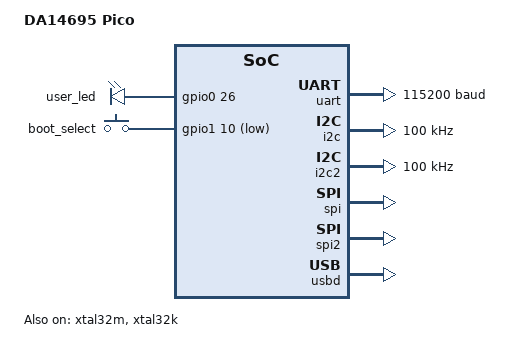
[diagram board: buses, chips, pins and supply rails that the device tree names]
/*
 * Copyright (c) 2022 Renesas Electronics Corporation
 * SPDX-License-Identifier: Apache-2.0
 */

/dts-v1/;
#include <renesas/smartbond/da14695.dtsi>
#include "da14695_pico-pinctrl.dtsi"

/ {
	model = "DA14695 Pico";
	compatible = "renesas,da14695_pico";
	#address-cells = <1>;
	#size-cells = <1>;

	chosen {
		zephyr,sram = &sram0;
		zephyr,flash = &flash0;
		zephyr,flash-controller = &flash_controller;
		zephyr,code-partition = &slot0_partition;
		zephyr,console = &uart;
		zephyr,shell-uart = &uart;
	};

	leds {
		compatible = "gpio-leds";
		user_led: user_led {
			gpios = <&gpio0 26 GPIO_ACTIVE_HIGH>;
		};
	};

	buttons {
		compatible = "gpio-keys";
		boot_select: boot_select {
			gpios = <&gpio1 10 GPIO_ACTIVE_LOW>;
		};
	};

	aliases {
		led0 = &user_led;
		watchdog0 = &wdog;
		mcuboot-led0 = &user_led;
		mcuboot-button0 = &boot_select;
	};

	sysclk: system-clock {
		compatible = "fixed-clock";
		clock-frequency = <32000000>;
		#clock-cells = <0>;
	};
};

&flash0 {
	reg = <0x16000000 DT_SIZE_M(4)>;

	partitions {
		compatible = "fixed-partitions";
		#address-cells = <1>;
		#size-cells = <1>;

		boot_partition: partition@2400 {
			label = "mcuboot";
			reg = <0x000002400 0x00010000>;
		};
		slot0_partition: partition@80000 {
			label = "image-0";
			reg = <0x80000 0x80000>;
		};
		slot1_partition: partition@100000 {
			label = "image-1";
			reg = <0x100000 0x80000>;
		};
		scratch_partition: partition@180000 {
			label = "image-scratch";
			reg = <0x180000 0x80000>;
		};
		storage_partition: partition@200000 {
			label = "storage";
			reg = <0x200000 0x200000>;
		};
	};
};

&gpio0 {
	status = "okay";
};

&gpio1 {
	status = "okay";
};

&uart {
	current-speed = <115200>;
	status = "okay";
	pinctrl-0 = <&uart_default>;
	pinctrl-names = "default";
};

&i2c {
	status = "okay";
	pinctrl-0 = <&i2c_default>;
	pinctrl-names = "default";
	clock-frequency = < 100000 >;
};

&i2c2 {
	status = "okay";
	pinctrl-0 = <&i2c2_default>;
	pinctrl-names = "default";
	clock-frequency = < 100000 >;
};

&spi {
	status = "okay";
	pinctrl-0 = <&spi_controller>;
	pinctrl-names = "default";
};

&spi2 {
	status = "okay";
	pinctrl-0 = <&spi2_controller>;
	pinctrl-names = "default";
};

zephyr_udc0: &usbd {
	compatible = "renesas,smartbond-usbd";
	status = "okay";
};


&rc32m {
	status = "disabled";
};

&xtal32m {
	status = "okay";
};

&xtal32k {
	status = "okay";
};

&lp_clk {
	clock-src = <&xtal32k>;
};

&sys_clk {
	clock-src = <&xtal32m>;
};

&pll {
	status = "okay";
};
